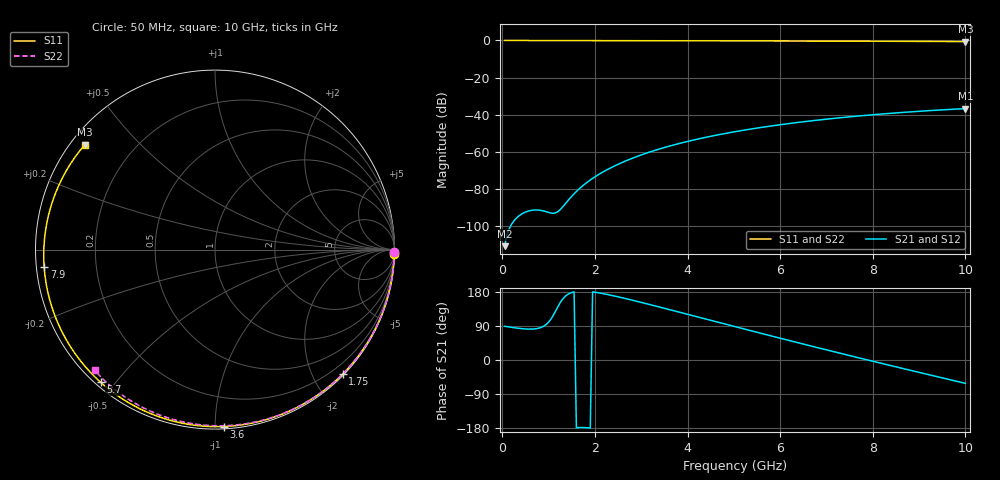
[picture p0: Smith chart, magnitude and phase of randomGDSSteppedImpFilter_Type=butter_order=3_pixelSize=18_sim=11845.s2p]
! freq	dB(S11)	phase(S11)	dB(S12)	phase(S12)
!  dB(S21)	phase(S21)	dB(S22)	phase(S22)
!S-par simulation data
#  GHz  S  DB  R 50
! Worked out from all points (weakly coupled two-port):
!   200 points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, 50 MHz to 10 GHz, reference 50 ohm
!   highest |S21| = -36.79 dB at 10 GHz (marker M1); lowest = -111.0 dB at 50 MHz (marker M2)
!   lowest |S11| = -0.6 dB at 10 GHz (marker M3), VSWR 28.23, Z = 1.99 + j17.6 ohm
!   |S11| at or under -10 dB: nowhere
!   |S22| runs from -0.4 to 0.0 dB; largest |S21 - S12| = 0
!   S11 on the Smith chart (normalised r, x): 50 MHz: 0, -88; 1.75 GHz: 0.02, -2.46; 3.6 GHz: 0.01, -1.05; 5.7 GHz: 0.01, -0.46; 7.9 GHz: 0.02, -0.05; 10 GHz: 0.04, +0.35
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0.05  -0.00 -1.3  -111.05 89.0  -111.05 89.0  -0.00 -0.8
0.4  -0.01 -10.3  -93.97 82.9  -93.97 82.9  -0.01 -6.2
0.8  -0.03 -20.5  -91.61 84.4  -91.61 84.4  -0.02 -12.3
1.2  -0.04 -30.7  -92.42 140.7  -92.42 140.7  -0.02 -18.4
1.65  -0.05 -41.8  -80.34 -178.4  -80.34 -178.4  -0.03 -25.2
1.75  -0.06 -44.3  -78.18 -178.2  -78.18 -178.2  -0.03 -26.7
2.05  -0.07 -51.6  -72.83 177.9  -72.83 177.9  -0.04 -31.2
2.45  -0.08 -61.1  -67.41 168.1  -67.41 168.1  -0.05 -37.1
2.9  -0.09 -71.5  -62.70 155.1  -62.70 155.1  -0.06 -43.6
3.4  -0.11 -82.8  -58.53 139.6  -58.53 139.6  -0.07 -50.8
3.6  -0.11 -87.2  -57.09 133.3  -57.09 133.3  -0.07 -53.7
4.3  -0.14 -102.2  -52.79 111.0  -52.79 111.0  -0.09 -63.4
5.05  -0.18 -117.7  -49.14 87.2  -49.14 87.2  -0.11 -73.6
5.7  -0.21 -130.8  -46.54 66.8  -46.54 66.8  -0.14 -82.1
6.2  -0.24 -140.6  -44.82 51.2  -44.82 51.2  -0.16 -88.6
6.7  -0.28 -150.5  -43.31 35.9  -43.31 35.9  -0.18 -94.9
7.3  -0.33 -162.2  -41.71 17.7  -41.71 17.7  -0.22 -102.3
7.9  -0.38 -174.1  -40.32 -0.3  -40.32 -0.3  -0.26 -109.6
8.35  -0.43 176.7  -39.40 -13.6  -39.40 -13.6  -0.29 -115.1
8.8  -0.48 167.4  -38.57 -26.9  -38.57 -26.9  -0.33 -120.5
9.2  -0.52 158.9  -37.91 -38.5  -37.91 -38.5  -0.36 -125.3
10  -0.62 141.1  -36.79 -61.6  -36.79 -61.6  -0.44 -134.9
